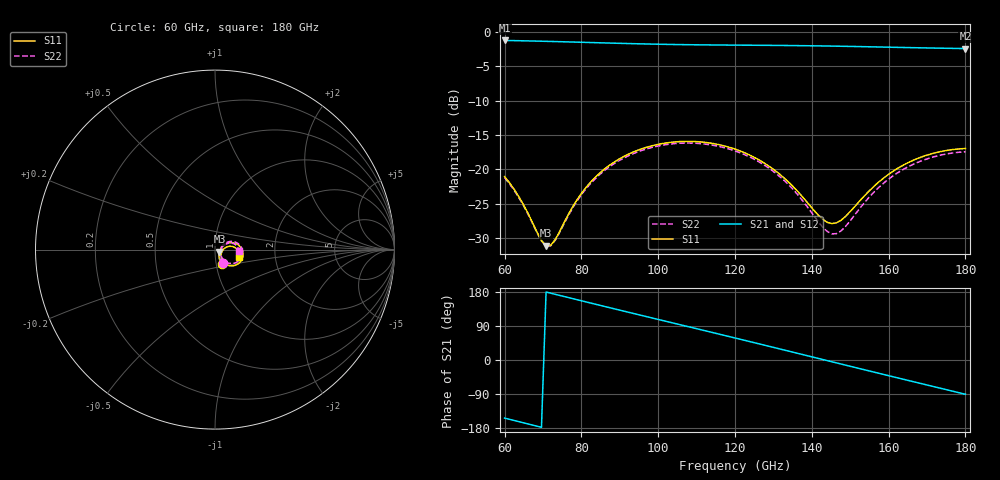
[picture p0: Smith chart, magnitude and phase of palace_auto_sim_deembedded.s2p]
! Created with skrf 1.11.0 (http://scikit-rf.org).
# GHz S DB R 50.0
!freq dBS11 angS11 dBS21 angS21 dBS12 angS12 dBS22 angS22
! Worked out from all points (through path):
!   101 points, 60 GHz to 180 GHz, reference 50 ohm
!   highest |S21| = -1.21 dB at 60 GHz (marker M1); lowest = -2.4 dB at 180 GHz (marker M2)
!   group delay of S21, straight-line fit = 6.87 ps
!   lowest |S11| = -31.2 dB at 70.8 GHz (marker M3), VSWR 1.06, Z = 52.6 - j1.25 ohm
!   |S11| at or under -10 dB: start of sweep to end of sweep
!   |S22| runs from -31.2 to -16.2 dB; largest |S21 - S12| = 9.6e-14
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60  -21.08 -64.5  -1.21 -153.3  -1.21 -153.3  -21.23 -60.8
63.6  -23.89 -65.5  -1.25 -162.4  -1.25 -162.4  -24.04 -61.5
69.6  -30.39 -39.6  -1.33 -177.6  -1.33 -177.6  -30.46 -35.3
70.8  -31.15 -25.4  -1.34 179.4  -1.34 179.4  -31.21 -21.2
73.2  -30.25 3.9  -1.38 173.3  -1.38 173.3  -30.35 7.7
80.4  -23.22 27.5  -1.49 155.3  -1.49 155.3  -23.41 32.0
84  -20.95 25.1  -1.54 146.4  -1.54 146.4  -21.16 29.9
88.8  -18.86 18.6  -1.62 134.5  -1.62 134.5  -19.08 23.8
94.8  -17.20 8.3  -1.70 119.8  -1.70 119.8  -17.43 13.9
100.8  -16.28 -2.9  -1.77 105.1  -1.77 105.1  -16.52 3.0
110.4  -15.98 -21.4  -1.85 81.7  -1.85 81.7  -16.23 -15.0
120  -17.06 -39.2  -1.90 58.1  -1.90 58.1  -17.33 -32.6
130.8  -20.34 -54.5  -1.94 31.3  -1.94 31.3  -20.67 -48.3
135.6  -22.80 -56.1  -1.96 19.4  -1.96 19.4  -23.23 -50.7
140.4  -25.88 -48.1  -2.00 7.4  -2.00 7.4  -26.66 -43.7
144  -27.73 -30.3  -2.03 -1.6  -2.03 -1.6  -29.07 -24.9
146.4  -27.82 -14.5  -2.05 -7.6  -2.05 -7.6  -29.39 -6.0
148.8  -26.87 -1.0  -2.07 -13.6  -2.07 -13.6  -28.33 10.5
153.6  -23.93 11.8  -2.12 -25.5  -2.12 -25.5  -24.94 25.3
160.8  -20.42 10.8  -2.21 -43.3  -2.21 -43.3  -21.11 24.5
170.4  -17.87 -2.0  -2.31 -66.9  -2.31 -66.9  -18.41 11.8
180  -16.98 -18.0  -2.40 -90.4  -2.40 -90.4  -17.45 -4.0
